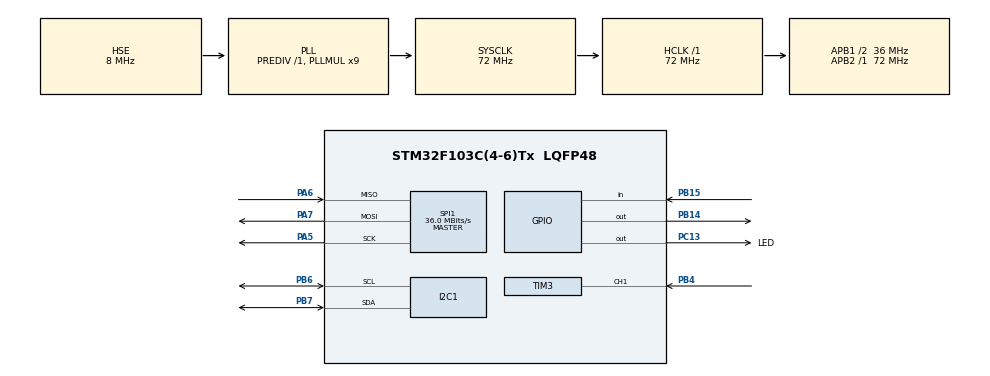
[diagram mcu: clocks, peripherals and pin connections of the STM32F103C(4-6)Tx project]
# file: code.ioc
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Mcu.Family=STM32F1
Mcu.Name=STM32F103C(4-6)Tx
Mcu.Package=LQFP48
NVIC.PriorityGroup=NVIC_PRIORITYGROUP_4
PA13.Mode=Serial_Wire
PA13.Signal=SYS_JTMS-SWDIO
PA14.Mode=Serial_Wire
PA14.Signal=SYS_JTCK-SWCLK
PA5.Mode=Full_Duplex_Master
PA5.Signal=SPI1_SCK
PA6.Mode=Full_Duplex_Master
PA6.Signal=SPI1_MISO
PA7.Mode=Full_Duplex_Master
PA7.Signal=SPI1_MOSI
PB14.Signal=GPIO_Output
PB15.Signal=GPIO_Input
PB4.Signal=S_TIM3_CH1
PB6.Mode=I2C
PB6.Signal=I2C1_SCL
PB7.Mode=I2C
PB7.Signal=I2C1_SDA
PC13-TAMPER-RTC.GPIO_Label=LED
PC13-TAMPER-RTC.Signal=GPIO_Output
PD0-OSC_IN.Mode=HSE-External-Oscillator
PD0-OSC_IN.Signal=RCC_OSC_IN
PD1-OSC_OUT.Mode=HSE-External-Oscillator
PD1-OSC_OUT.Signal=RCC_OSC_OUT
ProjectManager.HeapSize=0x200
ProjectManager.StackSize=0x400
ProjectManager.TargetToolchain=STM32CubeIDE
RCC.AHBFreq_Value=72000000
RCC.APB1CLKDivider=RCC_HCLK_DIV2
RCC.APB1Freq_Value=36000000
RCC.APB1TimFreq_Value=72000000
RCC.APB2Freq_Value=72000000
RCC.APB2TimFreq_Value=72000000
RCC.HCLKFreq_Value=72000000
RCC.PLLMUL=RCC_PLL_MUL9
RCC.PLLSourceVirtual=RCC_PLLSOURCE_HSE
RCC.SYSCLKFreq_VALUE=72000000
RCC.SYSCLKSource=RCC_SYSCLKSOURCE_PLLCLK
RCC.USBFreq_Value=72000000
SH.S_TIM3_CH1.0=TIM3_CH1,Input_Capture1_from_TI1
SPI1.BaudRatePrescaler=SPI_BAUDRATEPRESCALER_2
SPI1.CalculateBaudRate=36.0 MBits/s
SPI1.Direction=SPI_DIRECTION_2LINES
SPI1.Mode=SPI_MODE_MASTER
SPI1.VirtualType=VM_MASTER
TIM3.Channel-Input_Capture1_from_TI1=TIM_CHANNEL_1
TIM3.Period=1999
TIM3.Prescaler=71
VP_TIM3_VS_ClockSourceINT.Mode=Internal
board=custom

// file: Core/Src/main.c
/* USER CODE BEGIN Header */
/**
  ******************************************************************************
  * @file           : main.c
  * @brief          : Main program body
  ******************************************************************************
  * @attention
  *
  * Copyright (c) 2023 STMicroelectronics.
  * All rights reserved.
  *
  * This software is licensed under terms that can be found in the LICENSE file
  * in the root directory of this software component.
  * If no LICENSE file comes with this software, it is provided AS-IS.
  *
  ******************************************************************************
  */
/* USER CODE END Header */
#include "main.h"
#include "i2c.h"
#include "spi.h"
#include "tim.h"
#include "gpio.h"

/* USER CODE BEGIN Includes */
#include "hx711.h"
#include "hx711Config.h"
#include "i2c-lcd.h"
#include <stdio.h>
/* USER CODE END Includes */

/* USER CODE BEGIN PV */
hx711_t loadcell;
float weight;
char buffer[10];
/* USER CODE END PV */

void SystemClock_Config(void);

int main(void)
{

  /* MCU Configuration--------------------------------------------------------*/

  /* Reset of all peripherals, Initializes the Flash interface and the Systick. */
  HAL_Init();

  /* Configure the system clock */
  SystemClock_Config();

  /* Initialize all configured peripherals */
  MX_GPIO_Init();
  MX_I2C1_Init();
  MX_SPI1_Init();
  MX_TIM3_Init();
  /* USER CODE BEGIN 2 */

  /* Initialize Loadcell with Module HX711 */
  hx711_init(&loadcell, HX711_CLK_GPIO_Port, HX711_CLK_Pin, HX711_DATA_GPIO_Port, HX711_DATA_Pin);

  /* Reading after calibration */
  hx711_coef_set(&loadcell, 354.5);
  hx711_tare(&loadcell, 10);

  /* Init LCD1602 */
  lcd_init();
  lcd_clear();
  lcd_put_cur(0, 0);
  lcd_send_string("Khoi luong: ");
  /* USER CODE END 2 */

  /* Infinite loop */
  while (1)
  {

    /* USER CODE BEGIN 3 */
	  HAL_GPIO_TogglePin(LED_GPIO_Port, LED_Pin);

	  /* Read data, stored in weight variable */
	  weight = hx711_weight(&loadcell, 10);
	  snprintf(buffer, sizeof buffer, "%f", weight); // @suppress("Float formatting support")

	  /* Display on LCD */
	  lcd_put_cur(1, 4);
	  lcd_send_string(buffer);

	  HAL_Delay(5000);
  }
  /* USER CODE END 3 */
}

void SystemClock_Config(void)
{
  RCC_OscInitTypeDef RCC_OscInitStruct = {0};
  RCC_ClkInitTypeDef RCC_ClkInitStruct = {0};

  /** Initializes the RCC Oscillators according to the specified parameters
  * in the RCC_OscInitTypeDef structure.
  */
  RCC_OscInitStruct.OscillatorType = RCC_OSCILLATORTYPE_HSE;
  RCC_OscInitStruct.HSEState = RCC_HSE_ON;
  RCC_OscInitStruct.HSEPredivValue = RCC_HSE_PREDIV_DIV1;
  RCC_OscInitStruct.HSIState = RCC_HSI_ON;
  RCC_OscInitStruct.PLL.PLLState = RCC_PLL_ON;
  RCC_OscInitStruct.PLL.PLLSource = RCC_PLLSOURCE_HSE;
  RCC_OscInitStruct.PLL.PLLMUL = RCC_PLL_MUL9;
  if (HAL_RCC_OscConfig(&RCC_OscInitStruct) != HAL_OK)
  {
    Error_Handler();
  }

  /** Initializes the CPU, AHB and APB buses clocks
  */
  RCC_ClkInitStruct.ClockType = RCC_CLOCKTYPE_HCLK|RCC_CLOCKTYPE_SYSCLK
                              |RCC_CLOCKTYPE_PCLK1|RCC_CLOCKTYPE_PCLK2;
  RCC_ClkInitStruct.SYSCLKSource = RCC_SYSCLKSOURCE_PLLCLK;
  RCC_ClkInitStruct.AHBCLKDivider = RCC_SYSCLK_DIV1;
  RCC_ClkInitStruct.APB1CLKDivider = RCC_HCLK_DIV2;
  RCC_ClkInitStruct.APB2CLKDivider = RCC_HCLK_DIV1;

  if (HAL_RCC_ClockConfig(&RCC_ClkInitStruct, FLASH_LATENCY_2) != HAL_OK)
  {
    Error_Handler();
  }
}

void Error_Handler(void)
{
  __disable_irq();
  while (1)
  {
  }
}
